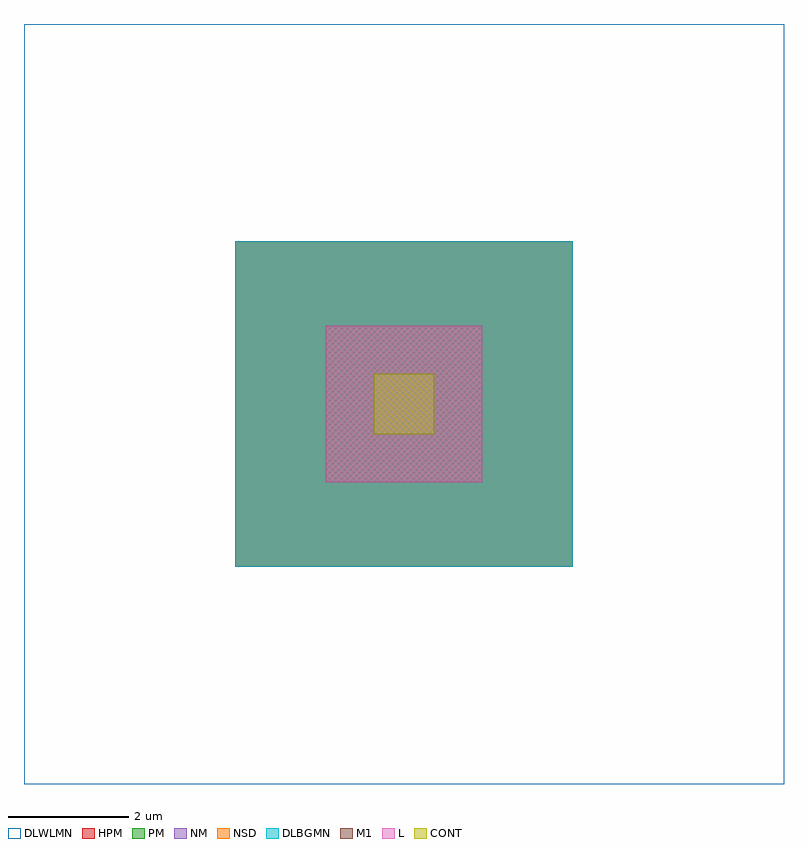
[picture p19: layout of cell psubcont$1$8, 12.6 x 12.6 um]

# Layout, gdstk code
import gdstk
lib = gdstk.Library(unit=1e-6, precision=1e-09)
def R(c, l, rs):  # rectangles x0, y0, x1, y1
    for r in rs: c.add(gdstk.rectangle(r[:2], r[2:], *l))
L = (3, 0)
NM = (7, 0)
CONT = (11, 0)
M1 = (13, 0)
NSD = (28, 0)
HPM = (33, 0)
PM = (35, 0)
DLWLMN = (151, 0)
DLBGMN = (178, 0)

dcont_1_8 = lib.new_cell('DCONT$1$8')
R(dcont_1_8, L, [(-1.3,-1.3,1.3,1.3)])
R(dcont_1_8, CONT, [(-0.5,-0.5,0.5,0.5)])
R(dcont_1_8, M1, [(-1.3,-1.3,1.3,1.3), (-0.5,-0.5,0.5,0.5)])

psubcont_1_8 = lib.new_cell('psubcont$1$8')
R(psubcont_1_8, NM, [(-2.8,-2.7,2.8,2.7)])
R(psubcont_1_8, NSD, [(-2.8,-2.7,2.8,2.7)])
R(psubcont_1_8, HPM, [(-2.8,-2.7,2.8,2.7)])
R(psubcont_1_8, PM, [(-2.8,-2.7,2.8,2.7)])
R(psubcont_1_8, DLWLMN, [(-6.3,-6.3,6.3,6.3)])
R(psubcont_1_8, DLBGMN, [(-2.8,-2.7,2.8,2.7)])
psubcont_1_8.add(gdstk.Reference(dcont_1_8, (0,0)))

lib.write_gds('psubcont_1_8.gds')
